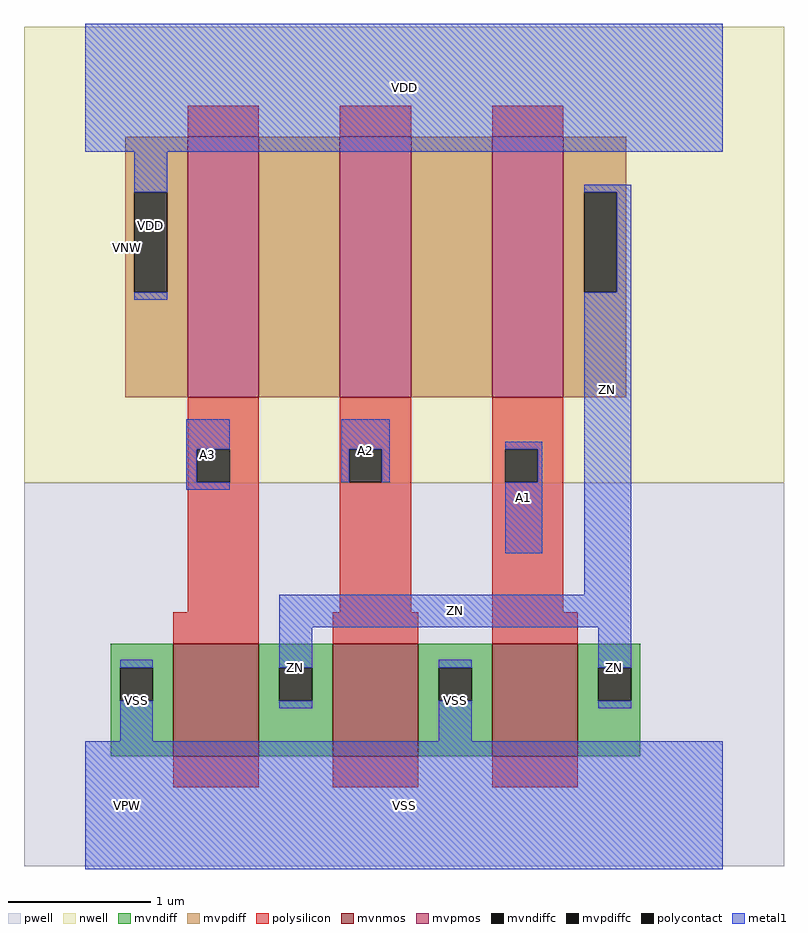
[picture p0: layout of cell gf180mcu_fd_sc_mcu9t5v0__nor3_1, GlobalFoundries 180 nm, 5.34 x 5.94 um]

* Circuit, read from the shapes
.subckt gf180mcu_fd_sc_mcu9t5v0__nor3_1 A1 A2 A3 ZN VDD VNW VPW VSS
XM1 ZN A3 VSS VPW nfet_06v0 w=0.79u l=0.6u
XM2 VSS A2 ZN VPW nfet_06v0 w=0.79u l=0.6u
XM3 ZN A1 VSS VPW nfet_06v0 w=0.79u l=0.6u
XM4 n1 A3 VDD VNW pfet_06v0 w=1.83u l=0.5u
XM5 n2 A2 n1 VNW pfet_06v0 w=1.83u l=0.5u
XM6 ZN A1 n2 VNW pfet_06v0 w=1.83u l=0.5u
.ends

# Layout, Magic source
magic
tech gf180mcuD
magscale 1 10
<< nwell >>
rect -86 453 982 1094
<< pwell >>
rect -86 -86 982 453
<< mvnmos >>
rect 124 69 244 227
rect 348 69 468 227
rect 572 69 692 227
<< mvpmos >>
rect 144 573 244 939
rect 358 573 458 939
rect 572 573 672 939
<< mvndiff >>
rect 36 193 124 227
rect 36 147 49 193
rect 95 147 124 193
rect 36 69 124 147
rect 244 193 348 227
rect 244 147 273 193
rect 319 147 348 193
rect 244 69 348 147
rect 468 193 572 227
rect 468 147 497 193
rect 543 147 572 193
rect 468 69 572 147
rect 692 193 780 227
rect 692 147 721 193
rect 767 147 780 193
rect 692 69 780 147
<< mvpdiff >>
rect 56 861 144 939
rect 56 721 69 861
rect 115 721 144 861
rect 56 573 144 721
rect 244 573 358 939
rect 458 573 572 939
rect 672 861 760 939
rect 672 721 701 861
rect 747 721 760 861
rect 672 573 760 721
<< mvndiffc >>
rect 49 147 95 193
rect 273 147 319 193
rect 497 147 543 193
rect 721 147 767 193
<< mvpdiffc >>
rect 69 721 115 861
rect 701 721 747 861
<< polysilicon >>
rect 144 939 244 983
rect 358 939 458 983
rect 572 939 672 983
rect 144 500 244 573
rect 144 454 157 500
rect 203 454 244 500
rect 144 271 244 454
rect 358 500 458 573
rect 358 454 371 500
rect 417 454 458 500
rect 358 271 458 454
rect 572 500 672 573
rect 572 454 590 500
rect 636 454 672 500
rect 572 271 672 454
rect 124 227 244 271
rect 348 227 468 271
rect 572 227 692 271
rect 124 25 244 69
rect 348 25 468 69
rect 572 25 692 69
<< polycontact >>
rect 157 454 203 500
rect 371 454 417 500
rect 590 454 636 500
<< metal1 >>
rect 0 918 896 1098
rect 69 861 115 918
rect 69 710 115 721
rect 701 861 767 872
rect 747 721 767 861
rect 142 500 203 542
rect 142 454 157 500
rect 360 500 428 542
rect 360 454 371 500
rect 417 454 428 500
rect 590 500 642 511
rect 636 454 642 500
rect 142 443 203 454
rect 590 354 642 454
rect 701 296 767 721
rect 273 250 767 296
rect 49 193 95 204
rect 49 90 95 147
rect 273 193 319 250
rect 273 136 319 147
rect 497 193 543 204
rect 497 90 543 147
rect 721 193 767 250
rect 721 136 767 147
rect 0 -90 896 90
<< labels >>
flabel metal1 s 590 354 642 511 0 FreeSans 200 0 0 0 A1
port 1 nsew default input
flabel metal1 s 360 454 428 542 0 FreeSans 200 0 0 0 A2
port 2 nsew default input
flabel metal1 s 142 443 203 542 0 FreeSans 200 0 0 0 A3
port 3 nsew default input
flabel metal1 s 0 918 896 1098 0 FreeSans 200 0 0 0 VDD
port 5 nsew power bidirectional abutment
flabel metal1 s 497 90 543 204 0 FreeSans 200 0 0 0 VSS
port 8 nsew ground bidirectional abutment
flabel metal1 s 701 296 767 872 0 FreeSans 200 0 0 0 ZN
port 4 nsew default output
flabel nwell s 10 734 110 834 0 FreeSans 400 0 0 0 VNW
port 6 nsew power bidirectional
flabel pwell s 10 -50 110 50 0 FreeSans 400 0 0 0 VPW
port 7 nsew ground bidirectional
rlabel metal1 s 273 250 767 296 1 ZN
port 4 nsew default output
rlabel metal1 s 721 136 767 250 1 ZN
port 4 nsew default output
rlabel metal1 s 273 136 319 250 1 ZN
port 4 nsew default output
rlabel metal1 s 69 710 115 918 1 VDD
port 5 nsew power bidirectional abutment
rlabel metal1 s 49 90 95 204 1 VSS
port 8 nsew ground bidirectional abutment
rlabel metal1 s 0 -90 896 90 1 VSS
port 8 nsew ground bidirectional abutment
<< properties >>
string FIXED_BBOX 0 0 896 1008
string GDS_END 88632
string GDS_FILE $PDKPATH/libs.ref/gf180mcu_fd_sc_mcu9t5v0/gds/gf180mcu_fd_sc_mcu9t5v0.gds
string GDS_START 85734
string LEFclass core
string LEFsite GF018hv5v_green_sc9
string LEFsymmetry X Y
<< end >>
